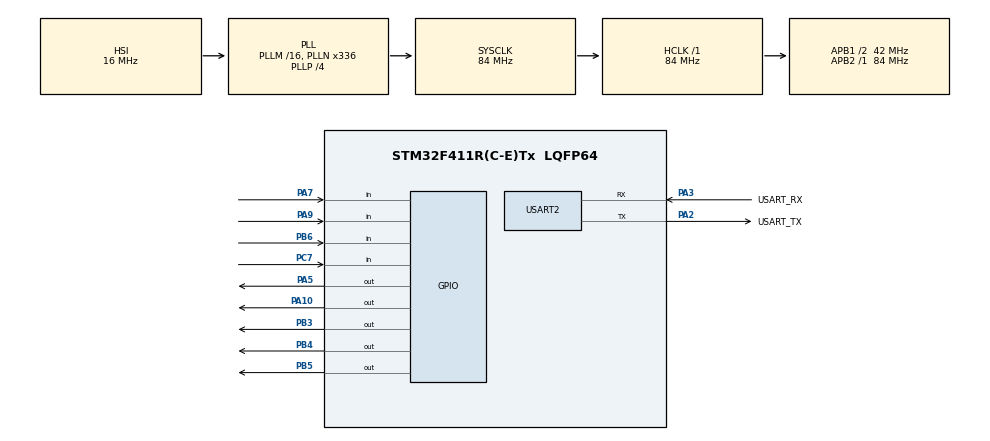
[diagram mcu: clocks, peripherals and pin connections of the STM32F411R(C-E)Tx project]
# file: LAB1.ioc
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Mcu.Family=STM32F4
Mcu.Name=STM32F411R(C-E)Tx
Mcu.Package=LQFP64
NVIC.PriorityGroup=NVIC_PRIORITYGROUP_0
PA10.GPIO_ModeDefaultOutputPP=GPIO_MODE_OUTPUT_OD
PA10.GPIO_PuPd=GPIO_NOPULL
PA10.PinState=GPIO_PIN_SET
PA10.Signal=GPIO_Output
PA13.GPIO_Label=TMS
PA13.Mode=Serial_Wire
PA13.Signal=SYS_JTMS-SWDIO
PA14.GPIO_Label=TCK
PA14.Mode=Serial_Wire
PA14.Signal=SYS_JTCK-SWCLK
PA2.GPIO_Label=USART_TX
PA2.Mode=Asynchronous
PA2.Signal=USART2_TX
PA3.GPIO_Label=USART_RX
PA3.Mode=Asynchronous
PA3.Signal=USART2_RX
PA5.PinState=GPIO_PIN_RESET
PA5.Signal=GPIO_Output
PA7.GPIO_PuPd=GPIO_PULLUP
PA7.Signal=GPIO_Input
PA9.GPIO_PuPd=GPIO_PULLUP
PA9.Signal=GPIO_Input
PB3.GPIO_ModeDefaultOutputPP=GPIO_MODE_OUTPUT_OD
PB3.GPIO_PuPd=GPIO_NOPULL
PB3.PinState=GPIO_PIN_SET
PB3.Signal=GPIO_Output
PB4.GPIO_ModeDefaultOutputPP=GPIO_MODE_OUTPUT_OD
PB4.GPIO_PuPd=GPIO_NOPULL
PB4.PinState=GPIO_PIN_SET
PB4.Signal=GPIO_Output
PB5.GPIO_ModeDefaultOutputPP=GPIO_MODE_OUTPUT_OD
PB5.GPIO_PuPd=GPIO_NOPULL
PB5.PinState=GPIO_PIN_SET
PB5.Signal=GPIO_Output
PB6.GPIO_PuPd=GPIO_PULLUP
PB6.Signal=GPIO_Input
PC14-OSC32_IN.Mode=LSE-External-Oscillator
PC14-OSC32_IN.Signal=RCC_OSC32_IN
PC15-OSC32_OUT.Mode=LSE-External-Oscillator
PC15-OSC32_OUT.Signal=RCC_OSC32_OUT
PC7.GPIO_PuPd=GPIO_PULLUP
PC7.Signal=GPIO_Input
PH0\ -\ OSC_IN.Mode=HSE-External-Clock-Source
PH0\ -\ OSC_IN.Signal=RCC_OSC_IN
PH1\ -\ OSC_OUT.Mode=HSE-External-Clock-Source
PH1\ -\ OSC_OUT.Signal=RCC_OSC_OUT
ProjectManager.HeapSize=0x200
ProjectManager.StackSize=0x400
ProjectManager.TargetToolchain=STM32CubeIDE
RCC.48MHZClocksFreq_Value=84000000
RCC.AHBFreq_Value=84000000
RCC.APB1CLKDivider=RCC_HCLK_DIV2
RCC.APB1Freq_Value=42000000
RCC.APB1TimFreq_Value=84000000
RCC.APB2Freq_Value=84000000
RCC.APB2TimFreq_Value=84000000
RCC.CortexFreq_Value=84000000
RCC.FLatency-AdvancedSettings=FLASH_LATENCY_2
RCC.HCLKFreq_Value=84000000
RCC.HSE_VALUE=8000000
RCC.HSI_VALUE=16000000
RCC.PLLN=336
RCC.PLLP=RCC_PLLP_DIV4
RCC.SYSCLKFreq_VALUE=84000000
RCC.SYSCLKSource=RCC_SYSCLKSOURCE_PLLCLK
RCC.VCOOutputFreq_Value=336000000
USART2.VirtualMode=VM_ASYNC
board=NUCLEO-F411RE

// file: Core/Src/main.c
/* USER CODE BEGIN Header */
/**
  ******************************************************************************
  * @file           : main.c
  * @brief          : Main program body
  ******************************************************************************
  * @attention
  *
  * Copyright (c) 2023 STMicroelectronics.
  * All rights reserved.
  *
  * This software is licensed under terms that can be found in the LICENSE file
  * in the root directory of this software component.
  * If no LICENSE file comes with this software, it is provided AS-IS.
  *
  ******************************************************************************
  */
/* USER CODE END Header */
#include "main.h"

UART_HandleTypeDef huart2;

/* USER CODE BEGIN PV */
typedef struct _PortPin
{
	GPIO_TypeDef* PORT;
	uint16_t PIN;
}PortPin;

PortPin R[4] = { { GPIOA, GPIO_PIN_10 }, { GPIOB, GPIO_PIN_3 },
		              { GPIOB,GPIO_PIN_5 }, { GPIOB, GPIO_PIN_4 } };

PortPin L[4] = { { GPIOA, GPIO_PIN_9 }, { GPIOC, GPIO_PIN_7 },
		               { GPIOB,GPIO_PIN_6 }, { GPIOA, GPIO_PIN_7 } };

uint16_t state_Num = 0;
uint16_t ButtonMatrix=0;
uint16_t Count = 0;
uint16_t ID[] = {6,4,3,4,0,5,0,0,0,6,7};
/* USER CODE END PV */

void SystemClock_Config(void);
static void MX_GPIO_Init(void);
static void MX_USART2_UART_Init(void);
/* USER CODE BEGIN PFP */
void ReadMatrixButton_1Row();
void ReadALL();
/* USER CODE END PFP */

int main(void)
{

  /* MCU Configuration--------------------------------------------------------*/

  /* Reset of all peripherals, Initializes the Flash interface and the Systick. */
  HAL_Init();

  /* Configure the system clock */
  SystemClock_Config();

  /* Initialize all configured peripherals */
  MX_GPIO_Init();
  MX_USART2_UART_Init();

  /* Infinite loop */
  while (1)
  {

    /* USER CODE BEGIN 3 */
	  static uint32_t timestamp=0;
	  if(HAL_GetTick()>=timestamp)
	  {
		  timestamp = HAL_GetTick()+10;
		  ReadMatrixButton_1Row();
		  //ReadALL();
		switch(state_Num)
		  {
		case 0://6
			if (ButtonMatrix == 1 && Count >= 0){HAL_GPIO_WritePin(GPIOA, GPIO_PIN_5, GPIO_PIN_RESET); state_Num =  0; Count = 0;}
			//if (ButtonMatrix == 2 && state_Num > 0 && Count >= 0){state_Num = state_Num - 1 ; Count = Count - 1;
			//while(ButtonMatrix == 2){ReadMatrixButton_1Row();}}
			if (ButtonMatrix == 32)
			{
				state_Num = 1;
				Count = Count + 1;
				while(ButtonMatrix == 32){ReadMatrixButton_1Row();};
			}
			else{if (ButtonMatrix != 32 && ButtonMatrix != 0 && ButtonMatrix != 128 && ButtonMatrix != 2048 && ButtonMatrix != 2 && ButtonMatrix != 4 && ButtonMatrix != 1 && ButtonMatrix != 8){Count = Count + 1;}while(ButtonMatrix != 32 && ButtonMatrix != 0){ReadMatrixButton_1Row();};}

			break;
		case 1://4
			if (ButtonMatrix == 1 && Count >= 0){HAL_GPIO_WritePin(GPIOA, GPIO_PIN_5, GPIO_PIN_RESET); state_Num =  0;  Count = 0;}
			//if (ButtonMatrix == 2 && state_Num > 0 && Count >= 0){state_Num = state_Num - 1; Count = Count - 1;
			//while(ButtonMatrix == 2){ReadMatrixButton_1Row();}}
			if (ButtonMatrix == 8192)
			{
				state_Num = 2;
				Count = Count + 1;
				while(ButtonMatrix == 8192){ReadMatrixButton_1Row();};
			}
			else{if (ButtonMatrix != 8192 && ButtonMatrix != 0 && ButtonMatrix != 128 && ButtonMatrix != 2048 && ButtonMatrix != 2 && ButtonMatrix != 4 && ButtonMatrix != 1 && ButtonMatrix != 8){Count = Count + 1;}while(ButtonMatrix != 8192 && ButtonMatrix != 0){ReadMatrixButton_1Row();};}
			break;
		case 2://3
			if (ButtonMatrix == 1 && Count >= 0 ){HAL_GPIO_WritePin(GPIOA, GPIO_PIN_5, GPIO_PIN_RESET); state_Num =  0; Count = 0;}
			//if (ButtonMatrix == 2 && state_Num > 0 && Count >= 0){state_Num = state_Num - 1; Count = Count - 1;
			//while(ButtonMatrix == 2){ReadMatrixButton_1Row();}}
			if (ButtonMatrix == 64)
			{
				state_Num = 3;
				Count = Count + 1;
				while(ButtonMatrix == 64){ReadMatrixButton_1Row();};
			}
			else{if (ButtonMatrix != 64 && ButtonMatrix != 0 && ButtonMatrix != 128 && ButtonMatrix != 2048 && ButtonMatrix != 2 && ButtonMatrix != 4 && ButtonMatrix != 1 && ButtonMatrix != 8){Count = Count + 1;}while(ButtonMatrix != 64 && ButtonMatrix != 0){ReadMatrixButton_1Row();};}
			break;
		case 3://4
			if (ButtonMatrix == 1 && Count >= 0){HAL_GPIO_WritePin(GPIOA, GPIO_PIN_5, GPIO_PIN_RESET); state_Num = 0; Count = 0;}
			//if (ButtonMatrix == 2 && state_Num > 0 && Count >= 0){state_Num = state_Num - 1; Count = Count - 1;
			//while(ButtonMatrix == 2){ReadMatrixButton_1Row();}}
			if (ButtonMatrix == 8192)
			{
				state_Num = 4;
				Count = Count + 1;
				while(ButtonMatrix == 8192){ReadMatrixButton_1Row();};
			}
			else{if (ButtonMatrix != 8192 && ButtonMatrix != 0 && ButtonMatrix != 128 && ButtonMatrix != 2048 && ButtonMatrix != 2 && ButtonMatrix != 4 && ButtonMatrix != 1 && ButtonMatrix != 8){Count = Count + 1;}while(ButtonMatrix != 8192 && ButtonMatrix != 0){ReadMatrixButton_1Row();};}
			break;
		case 4://0
			if (ButtonMatrix == 1 && Count >= 0){HAL_GPIO_WritePin(GPIOA, GPIO_PIN_5, GPIO_PIN_RESET); state_Num =  0; Count = 0;}
			//if (ButtonMatrix == 2 && state_Num > 0 && Count >= 0){state_Num = state_Num - 1; Count = Count - 1;
			//while(ButtonMatrix == 2){ReadMatrixButton_1Row();}}
			if (ButtonMatrix == 32768)
			{
				state_Num = 5;
				Count = Count + 1;
				while(ButtonMatrix == 32768){ReadMatrixButton_1Row();};
			}
			else{if (ButtonMatrix != 32768 && ButtonMatrix != 0 && ButtonMatrix != 128 && ButtonMatrix != 2048 && ButtonMatrix != 2 && ButtonMatrix != 4 && ButtonMatrix != 1 && ButtonMatrix != 8){Count = Count + 1;}while(ButtonMatrix != 32768 && ButtonMatrix != 0){ReadMatrixButton_1Row();};}
			break;
		case 5://5
			if (ButtonMatrix == 1 && Count >= 0){HAL_GPIO_WritePin(GPIOA, GPIO_PIN_5, GPIO_PIN_RESET); state_Num =  0; Count = 0;}
			//if (ButtonMatrix == 2 && state_Num > 0 && Count >= 0){state_Num = state_Num - 1; Count = Count - 1;
			//while(ButtonMatrix == 2){ReadMatrixButton_1Row();}}
			if (ButtonMatrix == 512)
			{
				state_Num = 6;
				Count = Count + 1;
				while(ButtonMatrix == 512){ReadMatrixButton_1Row();};
			}
			else{if (ButtonMatrix != 512 && ButtonMatrix != 0 && ButtonMatrix != 128 && ButtonMatrix != 2048 && ButtonMatrix != 2 && ButtonMatrix != 4 && ButtonMatrix != 1 && ButtonMatrix != 8){Count = Count + 1;}while(ButtonMatrix != 512 && ButtonMatrix != 0){ReadMatrixButton_1Row();};}
			break;
		case 6://0
			if (ButtonMatrix == 1 && Count >= 0){HAL_GPIO_WritePin(GPIOA, GPIO_PIN_5, GPIO_PIN_RESET); state_Num =  0; Count = 0;}
			//if (ButtonMatrix == 2 && state_Num > 0 && Count >= 0){state_Num = state_Num - 1; Count = Count - 1;
			//while(ButtonMatrix == 2){ReadMatrixButton_1Row();}}
			if (ButtonMatrix == 32768)
			{
				state_Num = 7;
				Count = Count + 1;
				while(ButtonMatrix == 32768){ReadMatrixButton_1Row();};
			}
			else{if (ButtonMatrix != 32768 && ButtonMatrix != 0 && ButtonMatrix != 128 && ButtonMatrix != 2048 && ButtonMatrix != 2 && ButtonMatrix != 4 && ButtonMatrix != 1 && ButtonMatrix != 8){Count = Count + 1;}while(ButtonMatrix != 32768 && ButtonMatrix != 0){ReadMatrixButton_1Row();};}
			break;
		case 7://0
			if (ButtonMatrix == 1 && Count >= 0){HAL_GPIO_WritePin(GPIOA, GPIO_PIN_5, GPIO_PIN_RESET); state_Num =  0; Count = 0;}
			//if (ButtonMatrix == 2 && state_Num > 0 && Count >= 0){state_Num = state_Num - 1; Count = Count - 1;
			//while(ButtonMatrix == 2){ReadMatrixButton_1Row();}}
			if (ButtonMatrix == 32768)
			{
				state_Num = 8;
				Count = Count + 1;
				while(ButtonMatrix == 32768){ReadMatrixButton_1Row();};
			}
			else{if (ButtonMatrix != 32768 && ButtonMatrix != 0 && ButtonMatrix != 128 && ButtonMatrix != 2048 && ButtonMatrix != 2 && ButtonMatrix != 4 && ButtonMatrix != 1 && ButtonMatrix != 8){Count = Count + 1;}while(ButtonMatrix != 32768 && ButtonMatrix != 0){ReadMatrixButton_1Row();};}
			break;
		case 8://0
			if (ButtonMatrix == 1 && Count >= 0){HAL_GPIO_WritePin(GPIOA, GPIO_PIN_5, GPIO_PIN_RESET); state_Num =  0; Count = 0;}
			//if (ButtonMatrix == 2 && state_Num > 0 && Count >= 0){state_Num = state_Num - 1; Count = Count - 1;
			//while(ButtonMatrix == 2){ReadMatrixButton_1Row();}}
			if (ButtonMatrix == 32768)
			{
				state_Num = 9;
				Count = Count + 1;
				while(ButtonMatrix == 32768){ReadMatrixButton_1Row();};
			}
			else{if (ButtonMatrix != 32768 && ButtonMatrix != 0 && ButtonMatrix != 128 && ButtonMatrix != 2048 && ButtonMatrix != 2 && ButtonMatrix != 4 && ButtonMatrix != 1 && ButtonMatrix != 8){Count = Count + 1;}while(ButtonMatrix != 32768 && ButtonMatrix != 0){ReadMatrixButton_1Row();};}
			break;
		case 9://6
			if (ButtonMatrix == 1 && Count >= 0){HAL_GPIO_WritePin(GPIOA, GPIO_PIN_5, GPIO_PIN_RESET); state_Num =  0; Count = 0;}
			//if (ButtonMatrix == 2 && state_Num > 0 && Count >= 0){state_Num = state_Num - 1; Count = Count - 1;
			//while(ButtonMatrix == 2){ReadMatrixButton_1Row();}}
			if (ButtonMatrix == 32)
			{
				state_Num = 10;
				Count = Count + 1;
				while(ButtonMatrix == 32){ReadMatrixButton_1Row();};
			}
			else{if (ButtonMatrix != 32 && ButtonMatrix != 0 && ButtonMatrix != 128 && ButtonMatrix != 2048 && ButtonMatrix != 2 && ButtonMatrix != 4 && ButtonMatrix != 1 && ButtonMatrix != 8){Count = Count + 1;}while(ButtonMatrix != 32 && ButtonMatrix != 0){ReadMatrixButton_1Row();};}
			break;
		case 10://7
			if (ButtonMatrix == 1 && Count >= 0){HAL_GPIO_WritePin(GPIOA, GPIO_PIN_5, GPIO_PIN_RESET); state_Num = 0; Count = 0;}
			//if (ButtonMatrix == 2 && state_Num > 0 && Count >= 0){state_Num = state_Num - 1; Count = Count - 1;
			//while(ButtonMatrix == 2){ReadMatrixButton_1Row();}}
			if (ButtonMatrix == 4096)
			{
				state_Num = 11;
				Count = Count + 1;
				while(ButtonMatrix == 4096){ReadMatrixButton_1Row();};
			}
			else{if (ButtonMatrix != 4096 && ButtonMatrix != 0 && ButtonMatrix != 128 && ButtonMatrix != 2048 && ButtonMatrix != 2 && ButtonMatrix != 4 && ButtonMatrix != 1 && ButtonMatrix != 8){Count = Count + 1;}while(ButtonMatrix != 4096 && ButtonMatrix != 0){ReadMatrixButton_1Row();};}
			break;
		case 11:
			//if (ButtonMatrix == 2 && state_Num > 0 && Count >= 0){HAL_GPIO_WritePin(GPIOA, GPIO_PIN_5, GPIO_PIN_RESET); state_Num = state_Num -1; Count = Count - 1;
			//while(ButtonMatrix == 2){ReadMatrixButton_1Row();}}
			if (ButtonMatrix == 1 && Count >= 0){HAL_GPIO_WritePin(GPIOA, GPIO_PIN_5, GPIO_PIN_RESET);state_Num = 0; Count = 0;}
			if (ButtonMatrix == 8)
			{
				if(Count == 11 && state_Num == 11)
				{
					HAL_GPIO_WritePin(GPIOA, GPIO_PIN_5, GPIO_PIN_SET);
				}

			}
			break;
		  }
	  }

  }
  /* USER CODE END 3 */
}

void SystemClock_Config(void)
{
  RCC_OscInitTypeDef RCC_OscInitStruct = {0};
  RCC_ClkInitTypeDef RCC_ClkInitStruct = {0};

  /** Configure the main internal regulator output voltage
  */
  __HAL_RCC_PWR_CLK_ENABLE();
  __HAL_PWR_VOLTAGESCALING_CONFIG(PWR_REGULATOR_VOLTAGE_SCALE1);

  /** Initializes the RCC Oscillators according to the specified parameters
  * in the RCC_OscInitTypeDef structure.
  */
  RCC_OscInitStruct.OscillatorType = RCC_OSCILLATORTYPE_HSI;
  RCC_OscInitStruct.HSIState = RCC_HSI_ON;
  RCC_OscInitStruct.HSICalibrationValue = RCC_HSICALIBRATION_DEFAULT;
  RCC_OscInitStruct.PLL.PLLState = RCC_PLL_ON;
  RCC_OscInitStruct.PLL.PLLSource = RCC_PLLSOURCE_HSI;
  RCC_OscInitStruct.PLL.PLLM = 16;
  RCC_OscInitStruct.PLL.PLLN = 336;
  RCC_OscInitStruct.PLL.PLLP = RCC_PLLP_DIV4;
  RCC_OscInitStruct.PLL.PLLQ = 4;
  if (HAL_RCC_OscConfig(&RCC_OscInitStruct) != HAL_OK)
  {
    Error_Handler();
  }

  /** Initializes the CPU, AHB and APB buses clocks
  */
  RCC_ClkInitStruct.ClockType = RCC_CLOCKTYPE_HCLK|RCC_CLOCKTYPE_SYSCLK
                              |RCC_CLOCKTYPE_PCLK1|RCC_CLOCKTYPE_PCLK2;
  RCC_ClkInitStruct.SYSCLKSource = RCC_SYSCLKSOURCE_PLLCLK;
  RCC_ClkInitStruct.AHBCLKDivider = RCC_SYSCLK_DIV1;
  RCC_ClkInitStruct.APB1CLKDivider = RCC_HCLK_DIV2;
  RCC_ClkInitStruct.APB2CLKDivider = RCC_HCLK_DIV1;

  if (HAL_RCC_ClockConfig(&RCC_ClkInitStruct, FLASH_LATENCY_2) != HAL_OK)
  {
    Error_Handler();
  }
}

static void MX_USART2_UART_Init(void)
{

  huart2.Instance = USART2;
  huart2.Init.BaudRate = 115200;
  huart2.Init.WordLength = UART_WORDLENGTH_8B;
  huart2.Init.StopBits = UART_STOPBITS_1;
  huart2.Init.Parity = UART_PARITY_NONE;
  huart2.Init.Mode = UART_MODE_TX_RX;
  huart2.Init.HwFlowCtl = UART_HWCONTROL_NONE;
  huart2.Init.OverSampling = UART_OVERSAMPLING_16;
  if (HAL_UART_Init(&huart2) != HAL_OK)
  {
    Error_Handler();
  }

}

static void MX_GPIO_Init(void)
{
  GPIO_InitTypeDef GPIO_InitStruct = {0};

  /* GPIO Ports Clock Enable */
  __HAL_RCC_GPIOC_CLK_ENABLE();
  __HAL_RCC_GPIOH_CLK_ENABLE();
  __HAL_RCC_GPIOA_CLK_ENABLE();
  __HAL_RCC_GPIOB_CLK_ENABLE();

  /*Configure GPIO pin Output Level */
  HAL_GPIO_WritePin(GPIOA, GPIO_PIN_5, GPIO_PIN_RESET);

  /*Configure GPIO pin Output Level */
  HAL_GPIO_WritePin(GPIOA, GPIO_PIN_10, GPIO_PIN_SET);

  /*Configure GPIO pin Output Level */
  HAL_GPIO_WritePin(GPIOB, GPIO_PIN_3|GPIO_PIN_4|GPIO_PIN_5, GPIO_PIN_SET);

  /*Configure GPIO pin : PA5 */
  GPIO_InitStruct.Pin = GPIO_PIN_5;
  GPIO_InitStruct.Mode = GPIO_MODE_OUTPUT_PP;
  GPIO_InitStruct.Pull = GPIO_NOPULL;
  GPIO_InitStruct.Speed = GPIO_SPEED_FREQ_LOW;
  HAL_GPIO_Init(GPIOA, &GPIO_InitStruct);

  /*Configure GPIO pins : PA7 PA9 */
  GPIO_InitStruct.Pin = GPIO_PIN_7|GPIO_PIN_9;
  GPIO_InitStruct.Mode = GPIO_MODE_INPUT;
  GPIO_InitStruct.Pull = GPIO_PULLUP;
  HAL_GPIO_Init(GPIOA, &GPIO_InitStruct);

  /*Configure GPIO pin : PC7 */
  GPIO_InitStruct.Pin = GPIO_PIN_7;
  GPIO_InitStruct.Mode = GPIO_MODE_INPUT;
  GPIO_InitStruct.Pull = GPIO_PULLUP;
  HAL_GPIO_Init(GPIOC, &GPIO_InitStruct);

  /*Configure GPIO pin : PA10 */
  GPIO_InitStruct.Pin = GPIO_PIN_10;
  GPIO_InitStruct.Mode = GPIO_MODE_OUTPUT_OD;
  GPIO_InitStruct.Pull = GPIO_NOPULL;
  GPIO_InitStruct.Speed = GPIO_SPEED_FREQ_LOW;
  HAL_GPIO_Init(GPIOA, &GPIO_InitStruct);

  /*Configure GPIO pins : PB3 PB4 PB5 */
  GPIO_InitStruct.Pin = GPIO_PIN_3|GPIO_PIN_4|GPIO_PIN_5;
  GPIO_InitStruct.Mode = GPIO_MODE_OUTPUT_OD;
  GPIO_InitStruct.Pull = GPIO_NOPULL;
  GPIO_InitStruct.Speed = GPIO_SPEED_FREQ_LOW;
  HAL_GPIO_Init(GPIOB, &GPIO_InitStruct);

  /*Configure GPIO pin : PB6 */
  GPIO_InitStruct.Pin = GPIO_PIN_6;
  GPIO_InitStruct.Mode = GPIO_MODE_INPUT;
  GPIO_InitStruct.Pull = GPIO_PULLUP;
  HAL_GPIO_Init(GPIOB, &GPIO_InitStruct);

}

/* USER CODE BEGIN 4 */
void ReadMatrixButton_1Row() {
    static uint8_t X = 0;
    register int i;
    for (i = 0; i < 4; i++) {
        if (HAL_GPIO_ReadPin(L[i].PORT, L[i].PIN)) {
            ButtonMatrix &= ~(1 << (X * 4 + i));
        } else {
            ButtonMatrix |= 1 << (X * 4 + i);
        }
    }
    HAL_GPIO_WritePin(R[X].PORT, R[X].PIN, 1);
    HAL_GPIO_WritePin(R[(X + 1) % 4].PORT, R[(X + 1) % 4].PIN, 0);
    X++;
    X %= 4;
}

/* USER CODE END 4 */

void Error_Handler(void)
{
  __disable_irq();
  while (1)
  {
  }
}
